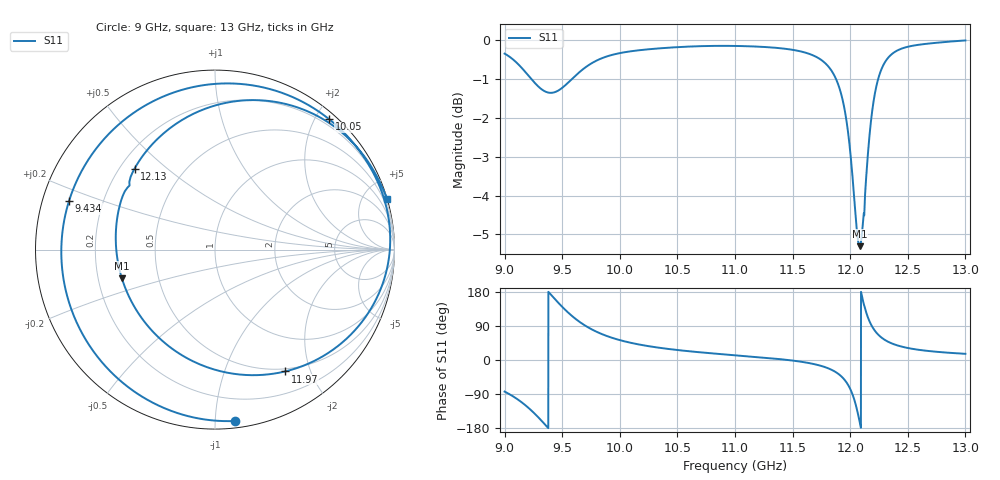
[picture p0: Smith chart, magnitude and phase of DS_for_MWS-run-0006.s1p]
! TOUCHSTONE file generated by CST DESIGN STUDIO
! Date and time: Tue Feb  4 13:55:44 2025
! Project name: C:\Work\MatlabApps\UnitCellOptimizationMatlab\CST\unitcell.cst
! Tree item: Tasks\Sweep1\SPara1\S-Parameters
! Header version: 2024
! Port assignment regex: !\s*Touchstone port\s*([0-9]+)\s*=\s*(CST MWS port|CST DES external port|CST DES block port)\s*(.+)\s* \(\"(.*)\"\)(\s*mode\s*([0-9]+))?.*
! Touchstone port assignment:
! Touchstone port 1 = CST DES external port 1 ("")
# GHz S MA R 50
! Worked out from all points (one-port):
!   4001 points, 9 GHz to 13 GHz, reference 50 ohm
!   lowest |S11| = -5.3 dB at 12.08 GHz (marker M1), VSWR 3.38, Z = 15.1 - j6.86 ohm
!   |S11| at or under -10 dB: nowhere
!   S11 on the Smith chart (normalised r, x): 9 GHz: 0.04, -1.12; 9.434 GHz: 0.08, +0.16; 10.05 GHz: 0.10, +2.20; 11.97 GHz: 0.46, -1.63; 12.13 GHz: 0.26, +0.39; 13 GHz: 0.01, +6.98
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9  0.9612 -83.4
9.113  0.9331 -103.8
9.209  0.8998 -126.8
9.33  0.8628 -163.3
9.434  0.8572 161.6
9.5  0.8684 140.3
9.59  0.893 114.9
9.687  0.9194 93.1
9.835  0.947 69.6
10  0.9627 52.5
10.046  0.9654 48.8
10.5  0.9798 26.3
11  0.9834 12.5
11.5  0.9721 -1.5
11.822  0.9207 -23.6
11.907  0.8674 -38.9
11.97  0.7834 -60.0
12  0.7194 -76.2
12.042  0.6068 -111.2
12.082  0.5429 -162.8
12.105  0.5688 164.4
12.13  0.6361 134.8
12.158  0.7265 109.0
12.189  0.8066 89.1
12.28  0.924 57.3
12.37  0.9621 42.7
12.5  0.981 31.7
13  0.9995 16.3
